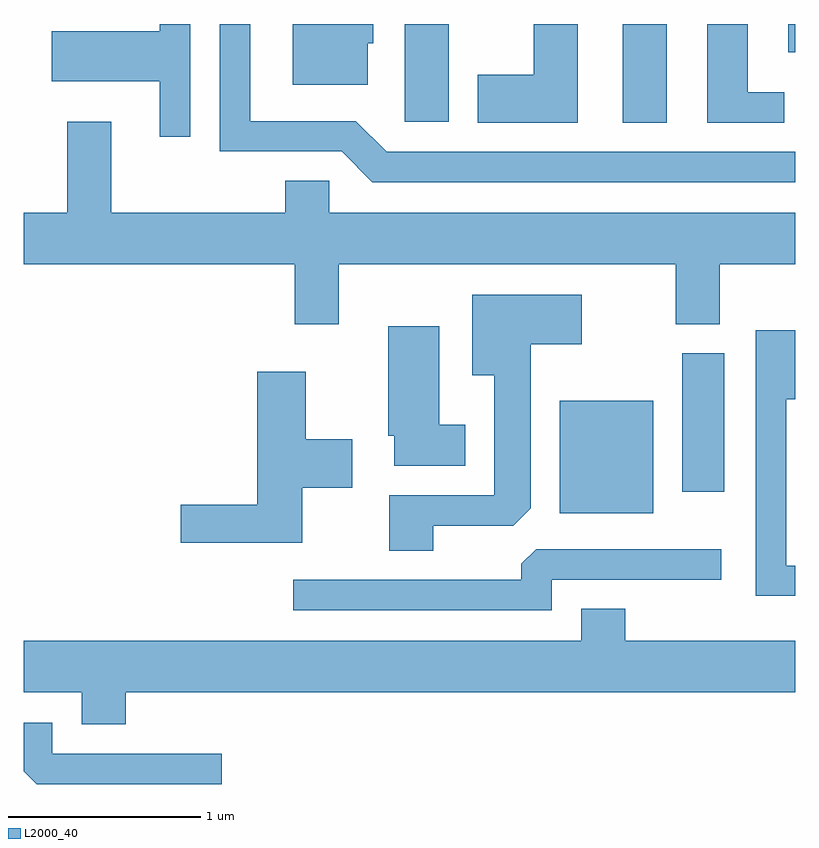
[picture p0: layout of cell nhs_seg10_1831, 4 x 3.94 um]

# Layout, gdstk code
import gdstk
lib = gdstk.Library(unit=1e-6, precision=1e-09)
def R(c, l, rs):  # rectangles x0, y0, x1, y1
    for r in rs: c.add(gdstk.rectangle(r[:2], r[2:], *l))
def P(c, l, *ps):  # polygons
    for p in ps: c.add(gdstk.Polygon(p, *l))
L2000_40 = (2000, 40)

nhs_seg10_1831 = lib.new_cell('nhs_seg10_1831')
R(nhs_seg10_1831, L2000_40, [(242.391,2085.986,242.874,2086.569), (243.026,2086.096,243.244,2086.814), (242.716,2088.011,242.944,2088.522), (241.586,2088.016,241.814,2088.522), (243.576,2088.376,243.611,2088.522)])
P(nhs_seg10_1831, L2000_40, [(240.474,2088.522),(240.316,2088.522),(240.316,2088.484),(239.756,2088.484),(239.756,2088.226),(240.316,2088.226),(240.316,2087.938),(240.474,2087.938)],
  [(242.484,2088.522),(242.256,2088.522),(242.256,2088.259),(241.966,2088.259),(241.966,2088.011),(242.484,2088.011)],
  [(243.611,2087.859),(241.492,2087.859),(241.332,2088.019),(240.784,2088.019),(240.784,2088.522),(240.626,2088.522),(240.626,2087.861),(241.259,2087.861),(241.419,2087.701),(243.611,2087.701)],
  [(241.394,2088.421),(241.424,2088.421),(241.424,2088.522),(241.006,2088.522),(241.006,2088.206),(241.394,2088.206)],
  [(243.553,2088.169),(243.364,2088.169),(243.364,2088.522),(243.156,2088.522),(243.156,2088.011),(243.553,2088.011)],
  [(241.244,2087.276),(242.991,2087.276),(242.991,2086.966),(243.219,2086.966),(243.219,2087.276),(243.611,2087.276),(243.611,2087.544),(241.194,2087.544),(241.194,2087.709),(240.966,2087.709),(240.966,2087.544),(240.064,2087.544),(240.064,2088.014),(239.836,2088.014),(239.836,2087.544),(239.611,2087.544),(239.611,2087.276),(241.016,2087.276),(241.016,2086.966),(241.244,2086.966)],
  [(241.734,2085.921),(242.149,2085.921),(242.239,2086.012),(242.239,2086.861),(242.504,2086.861),(242.504,2087.119),(241.936,2087.119),(241.936,2086.701),(242.051,2086.701),(242.051,2086.079),(241.506,2086.079),(241.506,2085.791),(241.734,2085.791)],
  [(241.899,2086.444),(241.764,2086.444),(241.764,2086.954),(241.501,2086.954),(241.501,2086.386),(241.531,2086.386),(241.531,2086.231),(241.899,2086.231)],
  [(243.611,2085.714),(243.564,2085.714),(243.564,2086.576),(243.611,2086.576),(243.611,2086.934),(243.406,2086.934),(243.406,2085.556),(243.611,2085.556)],
  [(241.054,2086.116),(241.314,2086.116),(241.314,2086.369),(241.074,2086.369),(241.074,2086.719),(240.821,2086.719),(240.821,2086.029),(240.426,2086.029),(240.426,2085.831),(241.054,2085.831)],
  [(242.349,2085.641),(243.228,2085.641),(243.228,2085.799),(242.267,2085.799),(242.191,2085.724),(242.191,2085.639),(241.008,2085.639),(241.008,2085.481),(242.349,2085.481)],
  [(240.139,2085.056),(243.611,2085.056),(243.611,2085.324),(242.729,2085.324),(242.729,2085.489),(242.501,2085.489),(242.501,2085.324),(239.611,2085.324),(239.611,2085.056),(239.911,2085.056),(239.911,2084.891),(240.139,2084.891)],
  [(240.638,2084.739),(239.759,2084.739),(239.759,2084.899),(239.611,2084.899),(239.611,2084.647),(239.677,2084.581),(240.638,2084.581)])

lib.write_gds('nhs_seg10_1831.gds')
